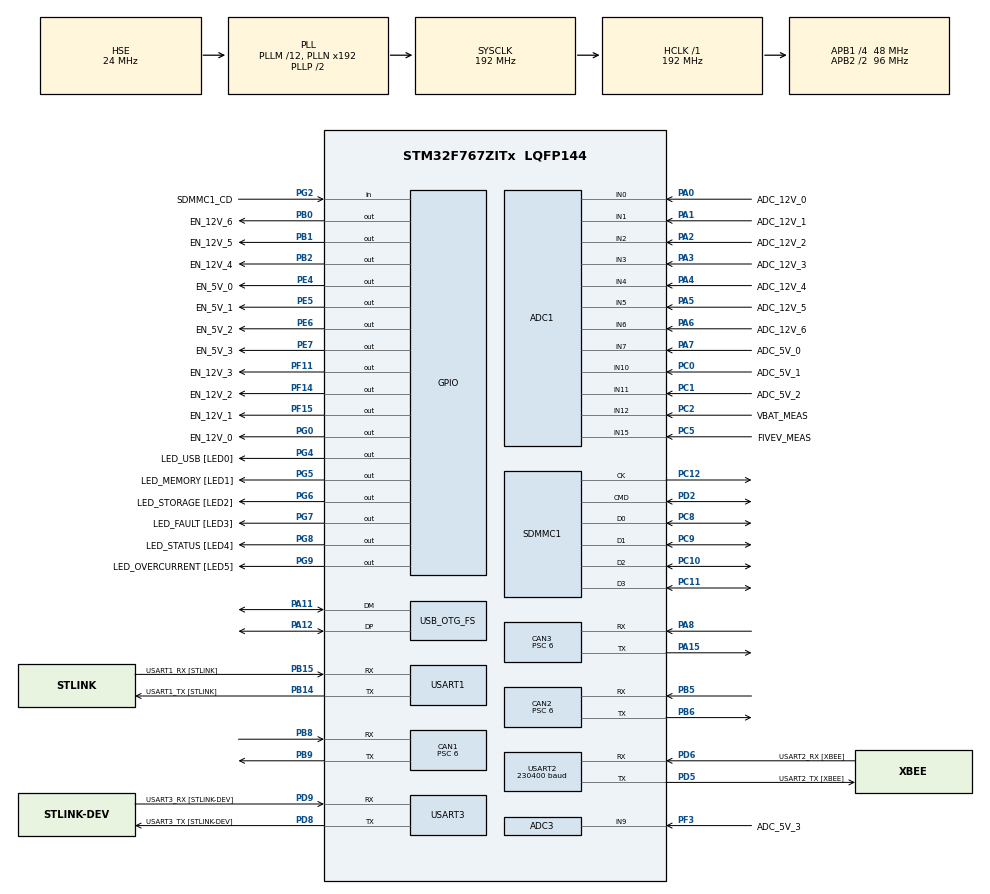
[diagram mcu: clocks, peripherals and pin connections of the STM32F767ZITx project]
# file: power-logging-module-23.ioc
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ADC1.Channel-0\#ChannelRegularConversion=ADC_CHANNEL_0
ADC1.Channel-1\#ChannelRegularConversion=ADC_CHANNEL_1
ADC1.Channel-10\#ChannelRegularConversion=ADC_CHANNEL_12
ADC1.Channel-11\#ChannelRegularConversion=ADC_CHANNEL_15
ADC1.Channel-2\#ChannelRegularConversion=ADC_CHANNEL_2
ADC1.Channel-3\#ChannelRegularConversion=ADC_CHANNEL_3
ADC1.Channel-4\#ChannelRegularConversion=ADC_CHANNEL_4
ADC1.Channel-5\#ChannelRegularConversion=ADC_CHANNEL_5
ADC1.Channel-6\#ChannelRegularConversion=ADC_CHANNEL_6
ADC1.Channel-7\#ChannelRegularConversion=ADC_CHANNEL_7
ADC1.Channel-8\#ChannelRegularConversion=ADC_CHANNEL_10
ADC1.Channel-9\#ChannelRegularConversion=ADC_CHANNEL_11
ADC1.ClockPrescaler=ADC_CLOCK_SYNC_PCLK_DIV8
ADC1.ContinuousConvMode=ENABLE
ADC1.DMAContinuousRequests=ENABLE
ADC1.NbrOfConversion=12
ADC1.NbrOfConversionFlag=1
ADC1.Rank-0\#ChannelRegularConversion=1
ADC1.Rank-1\#ChannelRegularConversion=2
ADC1.Rank-10\#ChannelRegularConversion=11
ADC1.Rank-11\#ChannelRegularConversion=12
ADC1.Rank-2\#ChannelRegularConversion=3
ADC1.Rank-3\#ChannelRegularConversion=4
ADC1.Rank-4\#ChannelRegularConversion=5
ADC1.Rank-5\#ChannelRegularConversion=6
ADC1.Rank-6\#ChannelRegularConversion=7
ADC1.Rank-7\#ChannelRegularConversion=8
ADC1.Rank-8\#ChannelRegularConversion=9
ADC1.Rank-9\#ChannelRegularConversion=10
ADC1.SamplingTime-0\#ChannelRegularConversion=ADC_SAMPLETIME_15CYCLES
ADC1.SamplingTime-1\#ChannelRegularConversion=ADC_SAMPLETIME_15CYCLES
ADC1.SamplingTime-10\#ChannelRegularConversion=ADC_SAMPLETIME_15CYCLES
ADC1.SamplingTime-11\#ChannelRegularConversion=ADC_SAMPLETIME_15CYCLES
ADC1.SamplingTime-2\#ChannelRegularConversion=ADC_SAMPLETIME_15CYCLES
ADC1.SamplingTime-3\#ChannelRegularConversion=ADC_SAMPLETIME_15CYCLES
ADC1.SamplingTime-4\#ChannelRegularConversion=ADC_SAMPLETIME_15CYCLES
ADC1.SamplingTime-5\#ChannelRegularConversion=ADC_SAMPLETIME_15CYCLES
ADC1.SamplingTime-6\#ChannelRegularConversion=ADC_SAMPLETIME_15CYCLES
ADC1.SamplingTime-7\#ChannelRegularConversion=ADC_SAMPLETIME_15CYCLES
ADC1.SamplingTime-8\#ChannelRegularConversion=ADC_SAMPLETIME_15CYCLES
ADC1.SamplingTime-9\#ChannelRegularConversion=ADC_SAMPLETIME_15CYCLES
ADC1.ScanConvMode=ADC_SCAN_ENABLE
ADC1.master=1
ADC3.Channel-0\#ChannelRegularConversion=ADC_CHANNEL_9
ADC3.ClockPrescaler=ADC_CLOCK_SYNC_PCLK_DIV8
ADC3.ContinuousConvMode=ENABLE
ADC3.DMAContinuousRequests=ENABLE
ADC3.NbrOfConversionFlag=1
ADC3.Rank-0\#ChannelRegularConversion=1
ADC3.SamplingTime-0\#ChannelRegularConversion=ADC_SAMPLETIME_15CYCLES
CAN1.ABOM=ENABLE
CAN1.AWUM=ENABLE
CAN1.BS1=CAN_BS1_6TQ
CAN1.BS2=CAN_BS2_1TQ
CAN1.CalculateBaudRate=1000000
CAN1.CalculateTimeBit=1000
CAN1.CalculateTimeQuantum=125.0
CAN1.Mode=CAN_MODE_NORMAL
CAN1.Prescaler=6
CAN2.ABOM=ENABLE
CAN2.AWUM=ENABLE
CAN2.BS1=CAN_BS1_6TQ
CAN2.BS2=CAN_BS2_1TQ
CAN2.CalculateBaudRate=1000000
CAN2.CalculateTimeBit=1000
CAN2.CalculateTimeQuantum=125.0
CAN2.Mode=CAN_MODE_NORMAL
CAN2.Prescaler=6
CAN3.ABOM=ENABLE
CAN3.AWUM=ENABLE
CAN3.BS1=CAN_BS1_6TQ
CAN3.BS2=CAN_BS2_1TQ
CAN3.CalculateBaudRate=1000000
CAN3.CalculateTimeBit=1000
CAN3.CalculateTimeQuantum=125.0
CAN3.Mode=CAN_MODE_NORMAL
CAN3.Prescaler=6
Dma.ADC1.3.Direction=DMA_PERIPH_TO_MEMORY
Dma.ADC1.3.FIFOMode=DMA_FIFOMODE_DISABLE
Dma.ADC1.3.Instance=DMA2_Stream0
Dma.ADC1.3.MemDataAlignment=DMA_MDATAALIGN_HALFWORD
Dma.ADC1.3.MemInc=DMA_MINC_ENABLE
Dma.ADC1.3.Mode=DMA_CIRCULAR
Dma.ADC1.3.PeriphDataAlignment=DMA_PDATAALIGN_HALFWORD
Dma.ADC1.3.PeriphInc=DMA_PINC_DISABLE
Dma.ADC1.3.Priority=DMA_PRIORITY_LOW
Dma.ADC3.4.Direction=DMA_PERIPH_TO_MEMORY
Dma.ADC3.4.FIFOMode=DMA_FIFOMODE_DISABLE
Dma.ADC3.4.Instance=DMA2_Stream1
Dma.ADC3.4.MemDataAlignment=DMA_MDATAALIGN_HALFWORD
Dma.ADC3.4.MemInc=DMA_MINC_ENABLE
Dma.ADC3.4.Mode=DMA_CIRCULAR
Dma.ADC3.4.PeriphDataAlignment=DMA_PDATAALIGN_HALFWORD
Dma.ADC3.4.PeriphInc=DMA_PINC_DISABLE
Dma.ADC3.4.Priority=DMA_PRIORITY_LOW
Dma.Request0=USART2_TX
Dma.Request1=SDMMC1_RX
Dma.Request2=SDMMC1_TX
Dma.Request3=ADC1
Dma.Request4=ADC3
Dma.SDMMC1_RX.1.Direction=DMA_PERIPH_TO_MEMORY
Dma.SDMMC1_RX.1.FIFOMode=DMA_FIFOMODE_ENABLE
Dma.SDMMC1_RX.1.FIFOThreshold=DMA_FIFO_THRESHOLD_FULL
Dma.SDMMC1_RX.1.Instance=DMA2_Stream3
Dma.SDMMC1_RX.1.MemBurst=DMA_MBURST_INC4
Dma.SDMMC1_RX.1.MemDataAlignment=DMA_MDATAALIGN_WORD
Dma.SDMMC1_RX.1.MemInc=DMA_MINC_ENABLE
Dma.SDMMC1_RX.1.Mode=DMA_PFCTRL
Dma.SDMMC1_RX.1.PeriphBurst=DMA_PBURST_INC4
Dma.SDMMC1_RX.1.PeriphDataAlignment=DMA_PDATAALIGN_WORD
Dma.SDMMC1_RX.1.PeriphInc=DMA_PINC_DISABLE
Dma.SDMMC1_RX.1.Priority=DMA_PRIORITY_LOW
Dma.SDMMC1_TX.2.Direction=DMA_MEMORY_TO_PERIPH
Dma.SDMMC1_TX.2.FIFOMode=DMA_FIFOMODE_ENABLE
Dma.SDMMC1_TX.2.FIFOThreshold=DMA_FIFO_THRESHOLD_FULL
Dma.SDMMC1_TX.2.Instance=DMA2_Stream6
Dma.SDMMC1_TX.2.MemBurst=DMA_MBURST_INC4
Dma.SDMMC1_TX.2.MemDataAlignment=DMA_MDATAALIGN_WORD
Dma.SDMMC1_TX.2.MemInc=DMA_MINC_ENABLE
Dma.SDMMC1_TX.2.Mode=DMA_PFCTRL
Dma.SDMMC1_TX.2.PeriphBurst=DMA_PBURST_INC4
Dma.SDMMC1_TX.2.PeriphDataAlignment=DMA_PDATAALIGN_WORD
Dma.SDMMC1_TX.2.PeriphInc=DMA_PINC_DISABLE
Dma.SDMMC1_TX.2.Priority=DMA_PRIORITY_LOW
Dma.USART2_TX.0.Direction=DMA_MEMORY_TO_PERIPH
Dma.USART2_TX.0.FIFOMode=DMA_FIFOMODE_DISABLE
Dma.USART2_TX.0.Instance=DMA1_Stream6
Dma.USART2_TX.0.MemDataAlignment=DMA_MDATAALIGN_BYTE
Dma.USART2_TX.0.MemInc=DMA_MINC_ENABLE
Dma.USART2_TX.0.Mode=DMA_NORMAL
Dma.USART2_TX.0.PeriphDataAlignment=DMA_PDATAALIGN_BYTE
Dma.USART2_TX.0.PeriphInc=DMA_PINC_DISABLE
Dma.USART2_TX.0.Priority=DMA_PRIORITY_LOW
FATFS.BSP.number=1
FATFS._MAX_SS=4096
FATFS._USE_LFN=2
FATFS0.BSP.STBoard=false
FATFS0.BSP.api=Unknown
FATFS0.BSP.instance=PG2
FATFS0.BSP.ip=GPIO
FATFS0.BSP.mode=Input
FATFS0.BSP.name=Detect_SDIO
FATFS0.BSP.solution=PG2
FREERTOS.Tasks01=PLM_StoreData,0,1024,plm_task_store_data,Default,NULL,Dynamic,NULL,NULL;PLM_ServiceCAN,0,1024,plm_task_service_can,Default,NULL,Dynamic,NULL,NULL;PLM_TransmitDat,0,1024,plm_task_transmit_data,Default,NULL,Dynamic,NULL,NULL;PLM_Heartbeat,-2,512,plm_task_heartbeat,Default,NULL,Dynamic,NULL,NULL;PLM_SimulateDat,-2,1024,plm_task_simulate_data,Default,NULL,Dynamic,NULL,NULL;PLM_CollectData,0,1024,plm_task_collect_data,Default,NULL,Dynamic,NULL,NULL;PLM_MonitorCurr,0,1024,plm_task_monitor_current,Default,NULL,Dynamic,NULL,NULL
FREERTOS.configENABLE_FPU=1
FREERTOS.configTOTAL_HEAP_SIZE=64000
Mcu.Family=STM32F7
Mcu.Name=STM32F767ZITx
Mcu.Package=LQFP144
NVIC.CAN1_RX0_IRQn=true\:5\:0\:false\:false\:true\:true\:true\:true\:true
NVIC.CAN1_RX1_IRQn=true\:5\:0\:false\:false\:true\:true\:true\:true\:true
NVIC.CAN1_TX_IRQn=true\:5\:0\:false\:false\:true\:true\:true\:true\:true
NVIC.CAN2_RX0_IRQn=true\:5\:0\:false\:false\:true\:true\:true\:true\:true
NVIC.CAN2_RX1_IRQn=true\:5\:0\:false\:false\:true\:true\:true\:true\:true
NVIC.CAN2_TX_IRQn=true\:5\:0\:false\:false\:true\:true\:true\:true\:true
NVIC.CAN3_RX0_IRQn=true\:5\:0\:false\:false\:true\:true\:true\:true\:true
NVIC.CAN3_RX1_IRQn=true\:5\:0\:false\:false\:true\:true\:true\:true\:true
NVIC.CAN3_TX_IRQn=true\:5\:0\:false\:false\:true\:true\:true\:true\:true
NVIC.DMA1_Stream6_IRQn=true\:5\:0\:false\:false\:true\:true\:false\:true\:true
NVIC.DMA2_Stream0_IRQn=true\:5\:0\:false\:false\:true\:true\:false\:true\:true
NVIC.DMA2_Stream1_IRQn=true\:5\:0\:false\:false\:true\:true\:false\:true\:true
NVIC.DMA2_Stream3_IRQn=true\:5\:0\:false\:false\:true\:true\:false\:true\:true
NVIC.DMA2_Stream6_IRQn=true\:5\:0\:false\:false\:true\:true\:false\:true\:true
NVIC.OTG_FS_IRQn=true\:5\:0\:false\:false\:true\:true\:true\:true\:true
NVIC.PriorityGroup=NVIC_PRIORITYGROUP_4
NVIC.SDMMC1_IRQn=true\:5\:0\:false\:false\:true\:true\:true\:true\:true
NVIC.TIM1_BRK_TIM9_IRQn=true\:15\:0\:false\:false\:true\:false\:false\:true\:true
NVIC.TimeBase=TIM1_BRK_TIM9_IRQn
NVIC.TimeBaseIP=TIM9
NVIC.USART2_IRQn=true\:5\:0\:false\:false\:true\:true\:true\:true\:true
PA0/WKUP.GPIO_Label=ADC_12V_0
PA0/WKUP.Signal=ADCx_IN0
PA1.GPIO_Label=ADC_12V_1
PA1.Signal=ADCx_IN1
PA11.Mode=Device_Only
PA11.Signal=USB_OTG_FS_DM
PA12.Mode=Device_Only
PA12.Signal=USB_OTG_FS_DP
PA15.Mode=CAN_Activate
PA15.Signal=CAN3_TX
PA2.GPIO_Label=ADC_12V_2
PA2.Signal=ADCx_IN2
PA3.GPIO_Label=ADC_12V_3
PA3.Signal=ADCx_IN3
PA4.GPIO_Label=ADC_12V_4
PA4.Signal=ADCx_IN4
PA5.GPIO_Label=ADC_12V_5
PA5.Signal=ADCx_IN5
PA6.GPIO_Label=ADC_12V_6
PA6.Signal=ADCx_IN6
PA7.GPIO_Label=ADC_5V_0
PA7.Signal=ADCx_IN7
PA8.GPIO_PuPd=GPIO_PULLUP
PA8.Mode=CAN_Activate
PA8.Signal=CAN3_RX
PB0.GPIO_Label=EN_12V_6
PB0.Signal=GPIO_Output
PB1.GPIO_Label=EN_12V_5
PB1.Signal=GPIO_Output
PB14.GPIO_Label=USART1_TX [STLINK]
PB14.Mode=Asynchronous
PB14.Signal=USART1_TX
PB15.GPIO_Label=USART1_RX [STLINK]
PB15.Mode=Asynchronous
PB15.Signal=USART1_RX
PB2.GPIO_Label=EN_12V_4
PB2.Signal=GPIO_Output
PB5.GPIO_PuPd=GPIO_PULLUP
PB5.Mode=CAN_Activate
PB5.Signal=CAN2_RX
PB6.Mode=CAN_Activate
PB6.Signal=CAN2_TX
PB8.GPIO_PuPd=GPIO_PULLUP
PB8.Mode=CAN_Activate
PB8.Signal=CAN1_RX
PB9.Mode=CAN_Activate
PB9.Signal=CAN1_TX
PC0.GPIO_Label=ADC_5V_1
PC0.Signal=ADCx_IN10
PC1.GPIO_Label=ADC_5V_2
PC1.Signal=ADCx_IN11
PC10.GPIO_PuPd=GPIO_PULLUP
PC10.Mode=SD_4_bits_Wide_bus
PC10.Signal=SDMMC1_D2
PC11.GPIO_PuPd=GPIO_PULLUP
PC11.Mode=SD_4_bits_Wide_bus
PC11.Signal=SDMMC1_D3
PC12.Mode=SD_4_bits_Wide_bus
PC12.Signal=SDMMC1_CK
PC14/OSC32_IN.Mode=LSE-External-Clock-Source
PC14/OSC32_IN.Signal=RCC_OSC32_IN
PC15/OSC32_OUT.Mode=LSE-External-Clock-Source
PC15/OSC32_OUT.Signal=RCC_OSC32_OUT
PC2.GPIO_Label=VBAT_MEAS
PC2.Signal=ADCx_IN12
PC5.GPIO_Label=FIVEV_MEAS
PC5.Signal=ADCx_IN15
PC8.GPIO_PuPd=GPIO_PULLUP
PC8.Mode=SD_4_bits_Wide_bus
PC8.Signal=SDMMC1_D0
PC9.GPIO_PuPd=GPIO_PULLUP
PC9.Mode=SD_4_bits_Wide_bus
PC9.Signal=SDMMC1_D1
PD2.GPIO_PuPd=GPIO_PULLUP
PD2.Mode=SD_4_bits_Wide_bus
PD2.Signal=SDMMC1_CMD
PD5.GPIO_Label=USART2_TX [XBEE]
PD5.Mode=Asynchronous
PD5.Signal=USART2_TX
PD6.GPIO_Label=USART2_RX [XBEE]
PD6.Mode=Asynchronous
PD6.Signal=USART2_RX
PD8.GPIO_Label=USART3_TX [STLINK-DEV]
PD8.Mode=Asynchronous
PD8.Signal=USART3_TX
PD9.GPIO_Label=USART3_RX [STLINK-DEV]
PD9.Mode=Asynchronous
PD9.Signal=USART3_RX
PE4.GPIO_Label=EN_5V_0
PE4.Signal=GPIO_Output
PE5.GPIO_Label=EN_5V_1
PE5.Signal=GPIO_Output
PE6.GPIO_Label=EN_5V_2
PE6.Signal=GPIO_Output
PE7.GPIO_Label=EN_5V_3
PE7.Signal=GPIO_Output
PF11.GPIO_Label=EN_12V_3
PF11.Signal=GPIO_Output
PF14.GPIO_Label=EN_12V_2
PF14.Signal=GPIO_Output
PF15.GPIO_Label=EN_12V_1
PF15.Signal=GPIO_Output
PF3.GPIO_Label=ADC_5V_3
PF3.Mode=IN9
PF3.Signal=ADC3_IN9
PG0.GPIO_Label=EN_12V_0
PG0.Signal=GPIO_Output
PG2.GPIO_Label=SDMMC1_CD
PG2.GPIO_PuPd=GPIO_PULLUP
PG2.Signal=GPIO_Input
PG4.GPIO_Label=LED_USB [LED0]
PG4.Signal=GPIO_Output
PG5.GPIO_Label=LED_MEMORY [LED1]
PG5.Signal=GPIO_Output
PG6.GPIO_Label=LED_STORAGE [LED2]
PG6.Signal=GPIO_Output
PG7.GPIO_Label=LED_FAULT [LED3]
PG7.Signal=GPIO_Output
PG8.GPIO_Label=LED_STATUS [LED4]
PG8.Signal=GPIO_Output
PG9.GPIO_Label=LED_OVERCURRENT [LED5]
PG9.Signal=GPIO_Output
PH0/OSC_IN.Mode=HSE-External-Clock-Source
PH0/OSC_IN.Signal=RCC_OSC_IN
PH1/OSC_OUT.Mode=HSE-External-Clock-Source
PH1/OSC_OUT.Signal=RCC_OSC_OUT
ProjectManager.HeapSize=0x200
ProjectManager.StackSize=0x400
ProjectManager.TargetToolchain=STM32CubeIDE
RCC.48MHZClocksFreq_Value=24000000
RCC.AHBFreq_Value=192000000
RCC.APB1CLKDivider=RCC_HCLK_DIV4
RCC.APB1Freq_Value=48000000
RCC.APB1TimFreq_Value=96000000
RCC.APB2CLKDivider=RCC_HCLK_DIV2
RCC.APB2Freq_Value=96000000
RCC.APB2TimFreq_Value=192000000
RCC.CortexFreq_Value=192000000
RCC.HCLKFreq_Value=192000000
RCC.HSE_VALUE=24000000
RCC.HSI_VALUE=16000000
RCC.LSE_VALUE=32768
RCC.PLLM=12
RCC.PLLMUL=RCC_PLL_MUL9
RCC.PLLQ=8
RCC.PRESCALERUSB=RCC_USBCLKSOURCE_PLL_DIV1_5
RCC.RTCClockSelection=RCC_RTCCLKSOURCE_LSE
RCC.SDMMCClockSelection=RCC_SDMMC1CLKSOURCE_CLK48
RCC.SYSCLKFreq_VALUE=192000000
RCC.SYSCLKSource=RCC_SYSCLKSOURCE_PLLCLK
RCC.SYSCLKSourceVirtual=RCC_SYSCLKSOURCE_PLLCLK
RCC.USBFreq_Value=48000000
RCC.VCOOutputFreq_Value=384000000
RTC.Format=RTC_FORMAT_BIN
SH.ADCx_IN0.0=ADC1_IN0,IN0
SH.ADCx_IN1.0=ADC1_IN1,IN1
SH.ADCx_IN10.0=ADC1_IN10,IN10
SH.ADCx_IN11.0=ADC1_IN11,IN11
SH.ADCx_IN12.0=ADC1_IN12,IN12
SH.ADCx_IN15.0=ADC1_IN15,IN15
SH.ADCx_IN2.0=ADC1_IN2,IN2
SH.ADCx_IN3.0=ADC1_IN3,IN3
SH.ADCx_IN4.0=ADC1_IN4,IN4
SH.ADCx_IN5.0=ADC1_IN5,IN5
SH.ADCx_IN6.0=ADC1_IN6,IN6
SH.ADCx_IN7.0=ADC1_IN7,IN7
USART1.VirtualMode-Asynchronous=VM_ASYNC
USART2.BaudRate=230400
USART2.VirtualMode-Asynchronous=VM_ASYNC
USART3.VirtualMode-Asynchronous=VM_ASYNC
USB_DEVICE.CLASS_NAME_FS=MSC
USB_DEVICE.MSC_MEDIA_PACKET-MSC_FS=512
USB_DEVICE.VirtualMode-MSC_FS=Msc
USB_DEVICE.VirtualModeFS=Msc_FS
USB_OTG_FS.VirtualMode=Device_Only
VP_FATFS_VS_SDIO.Mode=SDIO
VP_FREERTOS_VS_CMSIS_V1.Mode=CMSIS_V1
VP_RTC_VS_RTC_Activate.Mode=RTC_Enabled
VP_RTC_VS_RTC_Calendar.Mode=RTC_Calendar
VP_SYS_VS_tim9.Mode=TIM9
VP_USB_DEVICE_VS_USB_DEVICE_MSC_FS.Mode=MSC_FS
board=NUCLEO-F767ZI

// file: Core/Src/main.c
/* USER CODE BEGIN Header */
/**
  ******************************************************************************
  * @file           : main.c
  * @brief          : Main program body
  ******************************************************************************
  * @attention
  *
  * Copyright (c) 2022 STMicroelectronics.
  * All rights reserved.
  *
  * This software is licensed under terms that can be found in the LICENSE file
  * in the root directory of this software component.
  * If no LICENSE file comes with this software, it is provided AS-IS.
  *
  ******************************************************************************
  */
/* USER CODE END Header */
#include "main.h"
#include "cmsis_os.h"
#include "fatfs.h"
#include "usb_device.h"

/* USER CODE BEGIN Includes */
#include <stdio.h>
#include "plm.h"
#include "adc_lib.h"
/* USER CODE END Includes */

ADC_HandleTypeDef hadc1;
ADC_HandleTypeDef hadc3;
DMA_HandleTypeDef hdma_adc1;
DMA_HandleTypeDef hdma_adc3;

CAN_HandleTypeDef hcan1;
CAN_HandleTypeDef hcan2;
CAN_HandleTypeDef hcan3;

RTC_HandleTypeDef hrtc;

SD_HandleTypeDef hsd1;
DMA_HandleTypeDef hdma_sdmmc1_rx;
DMA_HandleTypeDef hdma_sdmmc1_tx;

UART_HandleTypeDef huart1;
UART_HandleTypeDef huart2;
UART_HandleTypeDef huart3;
DMA_HandleTypeDef hdma_usart2_tx;

osThreadId PLM_StoreDataHandle;
osThreadId PLM_ServiceCANHandle;
osThreadId PLM_TransmitDatHandle;
osThreadId PLM_HeartbeatHandle;
osThreadId PLM_SimulateDatHandle;
osThreadId PLM_CollectDataHandle;
osThreadId PLM_MonitorCurrHandle;

void SystemClock_Config(void);
static void MX_GPIO_Init(void);
static void MX_SDMMC1_SD_Init(void);
static void MX_DMA_Init(void);
static void MX_USART2_UART_Init(void);
static void MX_USART1_UART_Init(void);
static void MX_CAN1_Init(void);
static void MX_CAN2_Init(void);
static void MX_CAN3_Init(void);
static void MX_USART3_UART_Init(void);
static void MX_RTC_Init(void);
static void MX_ADC1_Init(void);
static void MX_ADC3_Init(void);
void plm_task_store_data(void const * argument);
void plm_task_service_can(void const * argument);
void plm_task_transmit_data(void const * argument);
void plm_task_heartbeat(void const * argument);
void plm_task_simulate_data(void const * argument);
void plm_task_collect_data(void const * argument);
void plm_task_monitor_current(void const * argument);

/* USER CODE BEGIN PFP */
// redirect printf to USART (STLink Virtual COM)
// NOTE: output gets flushed at newline \n
#ifdef __GNUC__
#define PUTCHAR_PROTOTYPE int __io_putchar(int ch)
#else
#define PUTCHAR_PROTOTYPE int fputc(int ch, FILE *f)
#endif

PUTCHAR_PROTOTYPE
{
  HAL_UART_Transmit(&huart1, (uint8_t*)&ch, 1, HAL_MAX_DELAY);
  HAL_UART_Transmit(&huart3, (uint8_t*)&ch, 1, HAL_MAX_DELAY);
  return ch;
}
/* USER CODE END PFP */

int main(void)
{

  /* MCU Configuration--------------------------------------------------------*/

  /* Reset of all peripherals, Initializes the Flash interface and the Systick. */
  HAL_Init();

  /* Configure the system clock */
  SystemClock_Config();

  /* Initialize all configured peripherals */
  MX_GPIO_Init();
  MX_SDMMC1_SD_Init();
  MX_DMA_Init();
  MX_FATFS_Init();
  MX_USART2_UART_Init();
  MX_USART1_UART_Init();
  MX_CAN1_Init();
  MX_CAN2_Init();
  MX_CAN3_Init();
  MX_USART3_UART_Init();
  MX_RTC_Init();
  MX_ADC1_Init();
  MX_ADC3_Init();
  /* USER CODE BEGIN 2 */
  plm_init();
  /* USER CODE END 2 */

  /* Create the thread(s) */
  /* definition and creation of PLM_StoreData */
  osThreadDef(PLM_StoreData, plm_task_store_data, osPriorityNormal, 0, 1024);
  PLM_StoreDataHandle = osThreadCreate(osThread(PLM_StoreData), NULL);

  /* definition and creation of PLM_ServiceCAN */
  osThreadDef(PLM_ServiceCAN, plm_task_service_can, osPriorityNormal, 0, 1024);
  PLM_ServiceCANHandle = osThreadCreate(osThread(PLM_ServiceCAN), NULL);

  /* definition and creation of PLM_TransmitDat */
  osThreadDef(PLM_TransmitDat, plm_task_transmit_data, osPriorityNormal, 0, 1024);
  PLM_TransmitDatHandle = osThreadCreate(osThread(PLM_TransmitDat), NULL);

  /* definition and creation of PLM_Heartbeat */
  osThreadDef(PLM_Heartbeat, plm_task_heartbeat, osPriorityLow, 0, 512);
  PLM_HeartbeatHandle = osThreadCreate(osThread(PLM_Heartbeat), NULL);

  /* definition and creation of PLM_SimulateDat */
  osThreadDef(PLM_SimulateDat, plm_task_simulate_data, osPriorityLow, 0, 1024);
  PLM_SimulateDatHandle = osThreadCreate(osThread(PLM_SimulateDat), NULL);

  /* definition and creation of PLM_CollectData */
  osThreadDef(PLM_CollectData, plm_task_collect_data, osPriorityNormal, 0, 1024);
  PLM_CollectDataHandle = osThreadCreate(osThread(PLM_CollectData), NULL);

  /* definition and creation of PLM_MonitorCurr */
  osThreadDef(PLM_MonitorCurr, plm_task_monitor_current, osPriorityNormal, 0, 1024);
  PLM_MonitorCurrHandle = osThreadCreate(osThread(PLM_MonitorCurr), NULL);

  /* Start scheduler */
  osKernelStart();

  /* We should never get here as control is now taken by the scheduler */
  /* Infinite loop */
  while (1)
  {

  }
}

void SystemClock_Config(void)
{
  RCC_OscInitTypeDef RCC_OscInitStruct = {0};
  RCC_ClkInitTypeDef RCC_ClkInitStruct = {0};

  /** Configure the main internal regulator output voltage
  */
  __HAL_RCC_PWR_CLK_ENABLE();
  __HAL_PWR_VOLTAGESCALING_CONFIG(PWR_REGULATOR_VOLTAGE_SCALE1);

  /** Initializes the RCC Oscillators according to the specified parameters
  * in the RCC_OscInitTypeDef structure.
  */
  RCC_OscInitStruct.OscillatorType = RCC_OSCILLATORTYPE_HSE|RCC_OSCILLATORTYPE_LSE;
  RCC_OscInitStruct.HSEState = RCC_HSE_BYPASS;
  RCC_OscInitStruct.LSEState = RCC_LSE_BYPASS;
  RCC_OscInitStruct.PLL.PLLState = RCC_PLL_ON;
  RCC_OscInitStruct.PLL.PLLSource = RCC_PLLSOURCE_HSE;
  RCC_OscInitStruct.PLL.PLLM = 12;
  RCC_OscInitStruct.PLL.PLLN = 192;
  RCC_OscInitStruct.PLL.PLLP = RCC_PLLP_DIV2;
  RCC_OscInitStruct.PLL.PLLQ = 8;
  RCC_OscInitStruct.PLL.PLLR = 2;
  if (HAL_RCC_OscConfig(&RCC_OscInitStruct) != HAL_OK)
  {
    Error_Handler();
  }

  /** Activate the Over-Drive mode
  */
  if (HAL_PWREx_EnableOverDrive() != HAL_OK)
  {
    Error_Handler();
  }

  /** Initializes the CPU, AHB and APB buses clocks
  */
  RCC_ClkInitStruct.ClockType = RCC_CLOCKTYPE_HCLK|RCC_CLOCKTYPE_SYSCLK
                              |RCC_CLOCKTYPE_PCLK1|RCC_CLOCKTYPE_PCLK2;
  RCC_ClkInitStruct.SYSCLKSource = RCC_SYSCLKSOURCE_PLLCLK;
  RCC_ClkInitStruct.AHBCLKDivider = RCC_SYSCLK_DIV1;
  RCC_ClkInitStruct.APB1CLKDivider = RCC_HCLK_DIV4;
  RCC_ClkInitStruct.APB2CLKDivider = RCC_HCLK_DIV2;

  if (HAL_RCC_ClockConfig(&RCC_ClkInitStruct, FLASH_LATENCY_6) != HAL_OK)
  {
    Error_Handler();
  }
}

static void MX_ADC1_Init(void)
{

  ADC_ChannelConfTypeDef sConfig = {0};

  /** Configure the global features of the ADC (Clock, Resolution, Data Alignment and number of conversion)
  */
  hadc1.Instance = ADC1;
  hadc1.Init.ClockPrescaler = ADC_CLOCK_SYNC_PCLK_DIV8;
  hadc1.Init.Resolution = ADC_RESOLUTION_12B;
  hadc1.Init.ScanConvMode = ADC_SCAN_ENABLE;
  hadc1.Init.ContinuousConvMode = ENABLE;
  hadc1.Init.DiscontinuousConvMode = DISABLE;
  hadc1.Init.ExternalTrigConvEdge = ADC_EXTERNALTRIGCONVEDGE_NONE;
  hadc1.Init.ExternalTrigConv = ADC_SOFTWARE_START;
  hadc1.Init.DataAlign = ADC_DATAALIGN_RIGHT;
  hadc1.Init.NbrOfConversion = 12;
  hadc1.Init.DMAContinuousRequests = ENABLE;
  hadc1.Init.EOCSelection = ADC_EOC_SINGLE_CONV;
  if (HAL_ADC_Init(&hadc1) != HAL_OK)
  {
    Error_Handler();
  }

  /** Configure for the selected ADC regular channel its corresponding rank in the sequencer and its sample time.
  */
  sConfig.Channel = ADC_CHANNEL_0;
  sConfig.Rank = ADC_REGULAR_RANK_1;
  sConfig.SamplingTime = ADC_SAMPLETIME_15CYCLES;
  if (HAL_ADC_ConfigChannel(&hadc1, &sConfig) != HAL_OK)
  {
    Error_Handler();
  }

  /** Configure for the selected ADC regular channel its corresponding rank in the sequencer and its sample time.
  */
  sConfig.Channel = ADC_CHANNEL_1;
  sConfig.Rank = ADC_REGULAR_RANK_2;
  if (HAL_ADC_ConfigChannel(&hadc1, &sConfig) != HAL_OK)
  {
    Error_Handler();
  }

  /** Configure for the selected ADC regular channel its corresponding rank in the sequencer and its sample time.
  */
  sConfig.Channel = ADC_CHANNEL_2;
  sConfig.Rank = ADC_REGULAR_RANK_3;
  if (HAL_ADC_ConfigChannel(&hadc1, &sConfig) != HAL_OK)
  {
    Error_Handler();
  }

  /** Configure for the selected ADC regular channel its corresponding rank in the sequencer and its sample time.
  */
  sConfig.Channel = ADC_CHANNEL_3;
  sConfig.Rank = ADC_REGULAR_RANK_4;
  if (HAL_ADC_ConfigChannel(&hadc1, &sConfig) != HAL_OK)
  {
    Error_Handler();
  }

  /** Configure for the selected ADC regular channel its corresponding rank in the sequencer and its sample time.
  */
  sConfig.Channel = ADC_CHANNEL_4;
  sConfig.Rank = ADC_REGULAR_RANK_5;
  if (HAL_ADC_ConfigChannel(&hadc1, &sConfig) != HAL_OK)
  {
    Error_Handler();
  }

  /** Configure for the selected ADC regular channel its corresponding rank in the sequencer and its sample time.
  */
  sConfig.Channel = ADC_CHANNEL_5;
  sConfig.Rank = ADC_REGULAR_RANK_6;
  if (HAL_ADC_ConfigChannel(&hadc1, &sConfig) != HAL_OK)
  {
    Error_Handler();
  }

  /** Configure for the selected ADC regular channel its corresponding rank in the sequencer and its sample time.
  */
  sConfig.Channel = ADC_CHANNEL_6;
  sConfig.Rank = ADC_REGULAR_RANK_7;
  if (HAL_ADC_ConfigChannel(&hadc1, &sConfig) != HAL_OK)
  {
    Error_Handler();
  }

  /** Configure for the selected ADC regular channel its corresponding rank in the sequencer and its sample time.
  */
  sConfig.Channel = ADC_CHANNEL_7;
  sConfig.Rank = ADC_REGULAR_RANK_8;
  if (HAL_ADC_ConfigChannel(&hadc1, &sConfig) != HAL_OK)
  {
    Error_Handler();
  }

  /** Configure for the selected ADC regular channel its corresponding rank in the sequencer and its sample time.
  */
  sConfig.Channel = ADC_CHANNEL_10;
  sConfig.Rank = ADC_REGULAR_RANK_9;
  if (HAL_ADC_ConfigChannel(&hadc1, &sConfig) != HAL_OK)
  {
    Error_Handler();
  }

  /** Configure for the selected ADC regular channel its corresponding rank in the sequencer and its sample time.
  */
  sConfig.Channel = ADC_CHANNEL_11;
  sConfig.Rank = ADC_REGULAR_RANK_10;
  if (HAL_ADC_ConfigChannel(&hadc1, &sConfig) != HAL_OK)
  {
    Error_Handler();
  }

  /** Configure for the selected ADC regular channel its corresponding rank in the sequencer and its sample time.
  */
  sConfig.Channel = ADC_CHANNEL_12;
  sConfig.Rank = ADC_REGULAR_RANK_11;
  if (HAL_ADC_ConfigChannel(&hadc1, &sConfig) != HAL_OK)
  {
    Error_Handler();
  }

  /** Configure for the selected ADC regular channel its corresponding rank in the sequencer and its sample time.
  */
  sConfig.Channel = ADC_CHANNEL_15;
  sConfig.Rank = ADC_REGULAR_RANK_12;
  if (HAL_ADC_ConfigChannel(&hadc1, &sConfig) != HAL_OK)
  {
    Error_Handler();
  }

}

static void MX_ADC3_Init(void)
{

  ADC_ChannelConfTypeDef sConfig = {0};

  /** Configure the global features of the ADC (Clock, Resolution, Data Alignment and number of conversion)
  */
  hadc3.Instance = ADC3;
  hadc3.Init.ClockPrescaler = ADC_CLOCK_SYNC_PCLK_DIV8;
  hadc3.Init.Resolution = ADC_RESOLUTION_12B;
  hadc3.Init.ScanConvMode = ADC_SCAN_DISABLE;
  hadc3.Init.ContinuousConvMode = ENABLE;
  hadc3.Init.DiscontinuousConvMode = DISABLE;
  hadc3.Init.ExternalTrigConvEdge = ADC_EXTERNALTRIGCONVEDGE_NONE;
  hadc3.Init.ExternalTrigConv = ADC_SOFTWARE_START;
  hadc3.Init.DataAlign = ADC_DATAALIGN_RIGHT;
  hadc3.Init.NbrOfConversion = 1;
  hadc3.Init.DMAContinuousRequests = ENABLE;
  hadc3.Init.EOCSelection = ADC_EOC_SINGLE_CONV;
  if (HAL_ADC_Init(&hadc3) != HAL_OK)
  {
    Error_Handler();
  }

  /** Configure for the selected ADC regular channel its corresponding rank in the sequencer and its sample time.
  */
  sConfig.Channel = ADC_CHANNEL_9;
  sConfig.Rank = ADC_REGULAR_RANK_1;
  sConfig.SamplingTime = ADC_SAMPLETIME_15CYCLES;
  if (HAL_ADC_ConfigChannel(&hadc3, &sConfig) != HAL_OK)
  {
    Error_Handler();
  }

}

static void MX_CAN1_Init(void)
{

  hcan1.Instance = CAN1;
  hcan1.Init.Prescaler = 6;
  hcan1.Init.Mode = CAN_MODE_NORMAL;
  hcan1.Init.SyncJumpWidth = CAN_SJW_1TQ;
  hcan1.Init.TimeSeg1 = CAN_BS1_6TQ;
  hcan1.Init.TimeSeg2 = CAN_BS2_1TQ;
  hcan1.Init.TimeTriggeredMode = DISABLE;
  hcan1.Init.AutoBusOff = ENABLE;
  hcan1.Init.AutoWakeUp = ENABLE;
  hcan1.Init.AutoRetransmission = DISABLE;
  hcan1.Init.ReceiveFifoLocked = DISABLE;
  hcan1.Init.TransmitFifoPriority = DISABLE;
  if (HAL_CAN_Init(&hcan1) != HAL_OK)
  {
    Error_Handler();
  }

}

static void MX_CAN2_Init(void)
{

  hcan2.Instance = CAN2;
  hcan2.Init.Prescaler = 6;
  hcan2.Init.Mode = CAN_MODE_NORMAL;
  hcan2.Init.SyncJumpWidth = CAN_SJW_1TQ;
  hcan2.Init.TimeSeg1 = CAN_BS1_6TQ;
  hcan2.Init.TimeSeg2 = CAN_BS2_1TQ;
  hcan2.Init.TimeTriggeredMode = DISABLE;
  hcan2.Init.AutoBusOff = ENABLE;
  hcan2.Init.AutoWakeUp = ENABLE;
  hcan2.Init.AutoRetransmission = DISABLE;
  hcan2.Init.ReceiveFifoLocked = DISABLE;
  hcan2.Init.TransmitFifoPriority = DISABLE;
  if (HAL_CAN_Init(&hcan2) != HAL_OK)
  {
    Error_Handler();
  }

}

static void MX_CAN3_Init(void)
{

  hcan3.Instance = CAN3;
  hcan3.Init.Prescaler = 6;
  hcan3.Init.Mode = CAN_MODE_NORMAL;
  hcan3.Init.SyncJumpWidth = CAN_SJW_1TQ;
  hcan3.Init.TimeSeg1 = CAN_BS1_6TQ;
  hcan3.Init.TimeSeg2 = CAN_BS2_1TQ;
  hcan3.Init.TimeTriggeredMode = DISABLE;
  hcan3.Init.AutoBusOff = ENABLE;
  hcan3.Init.AutoWakeUp = ENABLE;
  hcan3.Init.AutoRetransmission = DISABLE;
  hcan3.Init.ReceiveFifoLocked = DISABLE;
  hcan3.Init.TransmitFifoPriority = DISABLE;
  if (HAL_CAN_Init(&hcan3) != HAL_OK)
  {
    Error_Handler();
  }

}

static void MX_RTC_Init(void)
{

  /* USER CODE BEGIN RTC_Init 0 */
  // part of the bad solution
  RTC_TimeTypeDef old_time = {0};
  RTC_DateTypeDef old_date = {0};
  /* USER CODE END RTC_Init 0 */

  RTC_TimeTypeDef sTime = {0};
  RTC_DateTypeDef sDate = {0};

  /** Initialize RTC Only
  */
  hrtc.Instance = RTC;
  hrtc.Init.HourFormat = RTC_HOURFORMAT_24;
  hrtc.Init.AsynchPrediv = 127;
  hrtc.Init.SynchPrediv = 255;
  hrtc.Init.OutPut = RTC_OUTPUT_DISABLE;
  hrtc.Init.OutPutPolarity = RTC_OUTPUT_POLARITY_HIGH;
  hrtc.Init.OutPutType = RTC_OUTPUT_TYPE_OPENDRAIN;
  if (HAL_RTC_Init(&hrtc) != HAL_OK)
  {
    Error_Handler();
  }

  /* USER CODE BEGIN Check_RTC_BKUP */

  // this is a dumb solution to the problem of the auto-gen code resetting the time and
  // date on every MCU reset

  // get the time and date stored before reseting
  HAL_RTC_GetTime(&hrtc, &old_time, RTC_FORMAT_BIN);
  HAL_RTC_GetDate(&hrtc, &old_date, RTC_FORMAT_BIN);

  /* USER CODE END Check_RTC_BKUP */

  /** Initialize RTC and set the Time and Date
  */
  sTime.Hours = 0;
  sTime.Minutes = 0;
  sTime.Seconds = 0;
  sTime.DayLightSaving = RTC_DAYLIGHTSAVING_NONE;
  sTime.StoreOperation = RTC_STOREOPERATION_RESET;
  if (HAL_RTC_SetTime(&hrtc, &sTime, RTC_FORMAT_BIN) != HAL_OK)
  {
    Error_Handler();
  }
  sDate.WeekDay = RTC_WEEKDAY_MONDAY;
  sDate.Month = RTC_MONTH_JANUARY;
  sDate.Date = 1;
  sDate.Year = 0;

  if (HAL_RTC_SetDate(&hrtc, &sDate, RTC_FORMAT_BIN) != HAL_OK)
  {
    Error_Handler();
  }
  /* USER CODE BEGIN RTC_Init 2 */

  // part of the bad solution

  // put the old time and date back to what it used to be
  if (HAL_RTC_SetTime(&hrtc, &old_time, RTC_FORMAT_BIN) != HAL_OK)
  {
	Error_Handler();
  }
  if (HAL_RTC_SetDate(&hrtc, &old_date, RTC_FORMAT_BIN) != HAL_OK)
  {
    Error_Handler();
  }

  /* USER CODE END RTC_Init 2 */

}

static void MX_SDMMC1_SD_Init(void)
{

  hsd1.Instance = SDMMC1;
  hsd1.Init.ClockEdge = SDMMC_CLOCK_EDGE_RISING;
  hsd1.Init.ClockBypass = SDMMC_CLOCK_BYPASS_DISABLE;
  hsd1.Init.ClockPowerSave = SDMMC_CLOCK_POWER_SAVE_DISABLE;
  hsd1.Init.BusWide = SDMMC_BUS_WIDE_1B;
  hsd1.Init.HardwareFlowControl = SDMMC_HARDWARE_FLOW_CONTROL_DISABLE;
  hsd1.Init.ClockDiv = 0;

}

static void MX_USART1_UART_Init(void)
{

  huart1.Instance = USART1;
  huart1.Init.BaudRate = 115200;
  huart1.Init.WordLength = UART_WORDLENGTH_8B;
  huart1.Init.StopBits = UART_STOPBITS_1;
  huart1.Init.Parity = UART_PARITY_NONE;
  huart1.Init.Mode = UART_MODE_TX_RX;
  huart1.Init.HwFlowCtl = UART_HWCONTROL_NONE;
  huart1.Init.OverSampling = UART_OVERSAMPLING_16;
  huart1.Init.OneBitSampling = UART_ONE_BIT_SAMPLE_DISABLE;
  huart1.AdvancedInit.AdvFeatureInit = UART_ADVFEATURE_NO_INIT;
  if (HAL_UART_Init(&huart1) != HAL_OK)
  {
    Error_Handler();
  }

}

static void MX_USART2_UART_Init(void)
{

  huart2.Instance = USART2;
  huart2.Init.BaudRate = 230400;
  huart2.Init.WordLength = UART_WORDLENGTH_8B;
  huart2.Init.StopBits = UART_STOPBITS_1;
  huart2.Init.Parity = UART_PARITY_NONE;
  huart2.Init.Mode = UART_MODE_TX_RX;
  huart2.Init.HwFlowCtl = UART_HWCONTROL_NONE;
  huart2.Init.OverSampling = UART_OVERSAMPLING_16;
  huart2.Init.OneBitSampling = UART_ONE_BIT_SAMPLE_DISABLE;
  huart2.AdvancedInit.AdvFeatureInit = UART_ADVFEATURE_NO_INIT;
  if (HAL_UART_Init(&huart2) != HAL_OK)
  {
    Error_Handler();
  }

}

static void MX_USART3_UART_Init(void)
{

  huart3.Instance = USART3;
  huart3.Init.BaudRate = 115200;
  huart3.Init.WordLength = UART_WORDLENGTH_8B;
  huart3.Init.StopBits = UART_STOPBITS_1;
  huart3.Init.Parity = UART_PARITY_NONE;
  huart3.Init.Mode = UART_MODE_TX_RX;
  huart3.Init.HwFlowCtl = UART_HWCONTROL_NONE;
  huart3.Init.OverSampling = UART_OVERSAMPLING_16;
  huart3.Init.OneBitSampling = UART_ONE_BIT_SAMPLE_DISABLE;
  huart3.AdvancedInit.AdvFeatureInit = UART_ADVFEATURE_NO_INIT;
  if (HAL_UART_Init(&huart3) != HAL_OK)
  {
    Error_Handler();
  }

}

static void MX_DMA_Init(void)
{

  /* DMA controller clock enable */
  __HAL_RCC_DMA1_CLK_ENABLE();
  __HAL_RCC_DMA2_CLK_ENABLE();

  /* DMA interrupt init */
  /* DMA1_Stream6_IRQn interrupt configuration */
  HAL_NVIC_SetPriority(DMA1_Stream6_IRQn, 5, 0);
  HAL_NVIC_EnableIRQ(DMA1_Stream6_IRQn);
  /* DMA2_Stream0_IRQn interrupt configuration */
  HAL_NVIC_SetPriority(DMA2_Stream0_IRQn, 5, 0);
  HAL_NVIC_EnableIRQ(DMA2_Stream0_IRQn);
  /* DMA2_Stream1_IRQn interrupt configuration */
  HAL_NVIC_SetPriority(DMA2_Stream1_IRQn, 5, 0);
  HAL_NVIC_EnableIRQ(DMA2_Stream1_IRQn);
  /* DMA2_Stream3_IRQn interrupt configuration */
  HAL_NVIC_SetPriority(DMA2_Stream3_IRQn, 5, 0);
  HAL_NVIC_EnableIRQ(DMA2_Stream3_IRQn);
  /* DMA2_Stream6_IRQn interrupt configuration */
  HAL_NVIC_SetPriority(DMA2_Stream6_IRQn, 5, 0);
  HAL_NVIC_EnableIRQ(DMA2_Stream6_IRQn);

}

static void MX_GPIO_Init(void)
{
  GPIO_InitTypeDef GPIO_InitStruct = {0};

  /* GPIO Ports Clock Enable */
  __HAL_RCC_GPIOE_CLK_ENABLE();
  __HAL_RCC_GPIOC_CLK_ENABLE();
  __HAL_RCC_GPIOF_CLK_ENABLE();
  __HAL_RCC_GPIOH_CLK_ENABLE();
  __HAL_RCC_GPIOA_CLK_ENABLE();
  __HAL_RCC_GPIOB_CLK_ENABLE();
  __HAL_RCC_GPIOG_CLK_ENABLE();
  __HAL_RCC_GPIOD_CLK_ENABLE();

  /*Configure GPIO pin Output Level */
  HAL_GPIO_WritePin(GPIOE, EN_5V_0_Pin|EN_5V_1_Pin|EN_5V_2_Pin|EN_5V_3_Pin, GPIO_PIN_RESET);

  /*Configure GPIO pin Output Level */
  HAL_GPIO_WritePin(GPIOB, EN_12V_6_Pin|EN_12V_5_Pin|EN_12V_4_Pin, GPIO_PIN_RESET);

  /*Configure GPIO pin Output Level */
  HAL_GPIO_WritePin(GPIOF, EN_12V_3_Pin|EN_12V_2_Pin|EN_12V_1_Pin, GPIO_PIN_RESET);

  /*Configure GPIO pin Output Level */
  HAL_GPIO_WritePin(GPIOG, EN_12V_0_Pin|LED_USB_Pin|LED_MEMORY_Pin|LED_STORAGE_Pin
                          |LED_FAULT_Pin|LED_STATUS_Pin|LED_OVERCURRENT_Pin, GPIO_PIN_RESET);

  /*Configure GPIO pins : EN_5V_0_Pin EN_5V_1_Pin EN_5V_2_Pin EN_5V_3_Pin */
  GPIO_InitStruct.Pin = EN_5V_0_Pin|EN_5V_1_Pin|EN_5V_2_Pin|EN_5V_3_Pin;
  GPIO_InitStruct.Mode = GPIO_MODE_OUTPUT_PP;
  GPIO_InitStruct.Pull = GPIO_NOPULL;
  GPIO_InitStruct.Speed = GPIO_SPEED_FREQ_LOW;
  HAL_GPIO_Init(GPIOE, &GPIO_InitStruct);

  /*Configure GPIO pins : EN_12V_6_Pin EN_12V_5_Pin EN_12V_4_Pin */
  GPIO_InitStruct.Pin = EN_12V_6_Pin|EN_12V_5_Pin|EN_12V_4_Pin;
  GPIO_InitStruct.Mode = GPIO_MODE_OUTPUT_PP;
  GPIO_InitStruct.Pull = GPIO_NOPULL;
  GPIO_InitStruct.Speed = GPIO_SPEED_FREQ_LOW;
  HAL_GPIO_Init(GPIOB, &GPIO_InitStruct);

  /*Configure GPIO pins : EN_12V_3_Pin EN_12V_2_Pin EN_12V_1_Pin */
  GPIO_InitStruct.Pin = EN_12V_3_Pin|EN_12V_2_Pin|EN_12V_1_Pin;
  GPIO_InitStruct.Mode = GPIO_MODE_OUTPUT_PP;
  GPIO_InitStruct.Pull = GPIO_NOPULL;
  GPIO_InitStruct.Speed = GPIO_SPEED_FREQ_LOW;
  HAL_GPIO_Init(GPIOF, &GPIO_InitStruct);

  /*Configure GPIO pins : EN_12V_0_Pin LED_USB_Pin LED_MEMORY_Pin LED_STORAGE_Pin
                           LED_FAULT_Pin LED_STATUS_Pin LED_OVERCURRENT_Pin */
  GPIO_InitStruct.Pin = EN_12V_0_Pin|LED_USB_Pin|LED_MEMORY_Pin|LED_STORAGE_Pin
                          |LED_FAULT_Pin|LED_STATUS_Pin|LED_OVERCURRENT_Pin;
  GPIO_InitStruct.Mode = GPIO_MODE_OUTPUT_PP;
  GPIO_InitStruct.Pull = GPIO_NOPULL;
  GPIO_InitStruct.Speed = GPIO_SPEED_FREQ_LOW;
  HAL_GPIO_Init(GPIOG, &GPIO_InitStruct);

  /*Configure GPIO pin : SDMMC1_CD_Pin */
  GPIO_InitStruct.Pin = SDMMC1_CD_Pin;
  GPIO_InitStruct.Mode = GPIO_MODE_INPUT;
  GPIO_InitStruct.Pull = GPIO_PULLUP;
  HAL_GPIO_Init(SDMMC1_CD_GPIO_Port, &GPIO_InitStruct);

}

void plm_task_store_data(void const * argument)
{
  /* init code for USB_DEVICE */
  MX_USB_DEVICE_Init();
  /* USER CODE BEGIN 5 */
  /* Infinite loop */
  for(;;)
  {
    plm_store_data();
  }
  /* USER CODE END 5 */
}

void plm_task_service_can(void const * argument)
{
  /* USER CODE BEGIN plm_task_service_can */
  /* Infinite loop */
  for(;;)
  {
    plm_service_can();
  }
  /* USER CODE END plm_task_service_can */
}

void plm_task_transmit_data(void const * argument)
{
  /* USER CODE BEGIN plm_task_transmit_data */
  /* Infinite loop */
  for(;;)
  {
    plm_transmit_data();
  }
  /* USER CODE END plm_task_transmit_data */
}

void plm_task_heartbeat(void const * argument)
{
  /* USER CODE BEGIN plm_task_heartbeat */
  /* Infinite loop */
  for(;;)
  {
    plm_heartbeat();
  }
  /* USER CODE END plm_task_heartbeat */
}

void plm_task_simulate_data(void const * argument)
{
  /* USER CODE BEGIN plm_task_simulate_data */
  /* Infinite loop */
  for(;;)
  {
    plm_simulate_data();
  }
  /* USER CODE END plm_task_simulate_data */
}

void plm_task_collect_data(void const * argument)
{
  /* USER CODE BEGIN plm_task_collect_data */
  /* Infinite loop */
  for(;;)
  {
    plm_collect_data();
  }
  /* USER CODE END plm_task_collect_data */
}

void plm_task_monitor_current(void const * argument)
{
  /* USER CODE BEGIN plm_task_monitor_current */
  /* Infinite loop */
  for(;;)
  {
    plm_monitor_current();
  }
  /* USER CODE END plm_task_monitor_current */
}

void HAL_TIM_PeriodElapsedCallback(TIM_HandleTypeDef *htim)
{
  if (htim->Instance == TIM9) {
    HAL_IncTick();
  }
}

void Error_Handler(void)
{
  __disable_irq();
  while (1)
  {
  }
}
